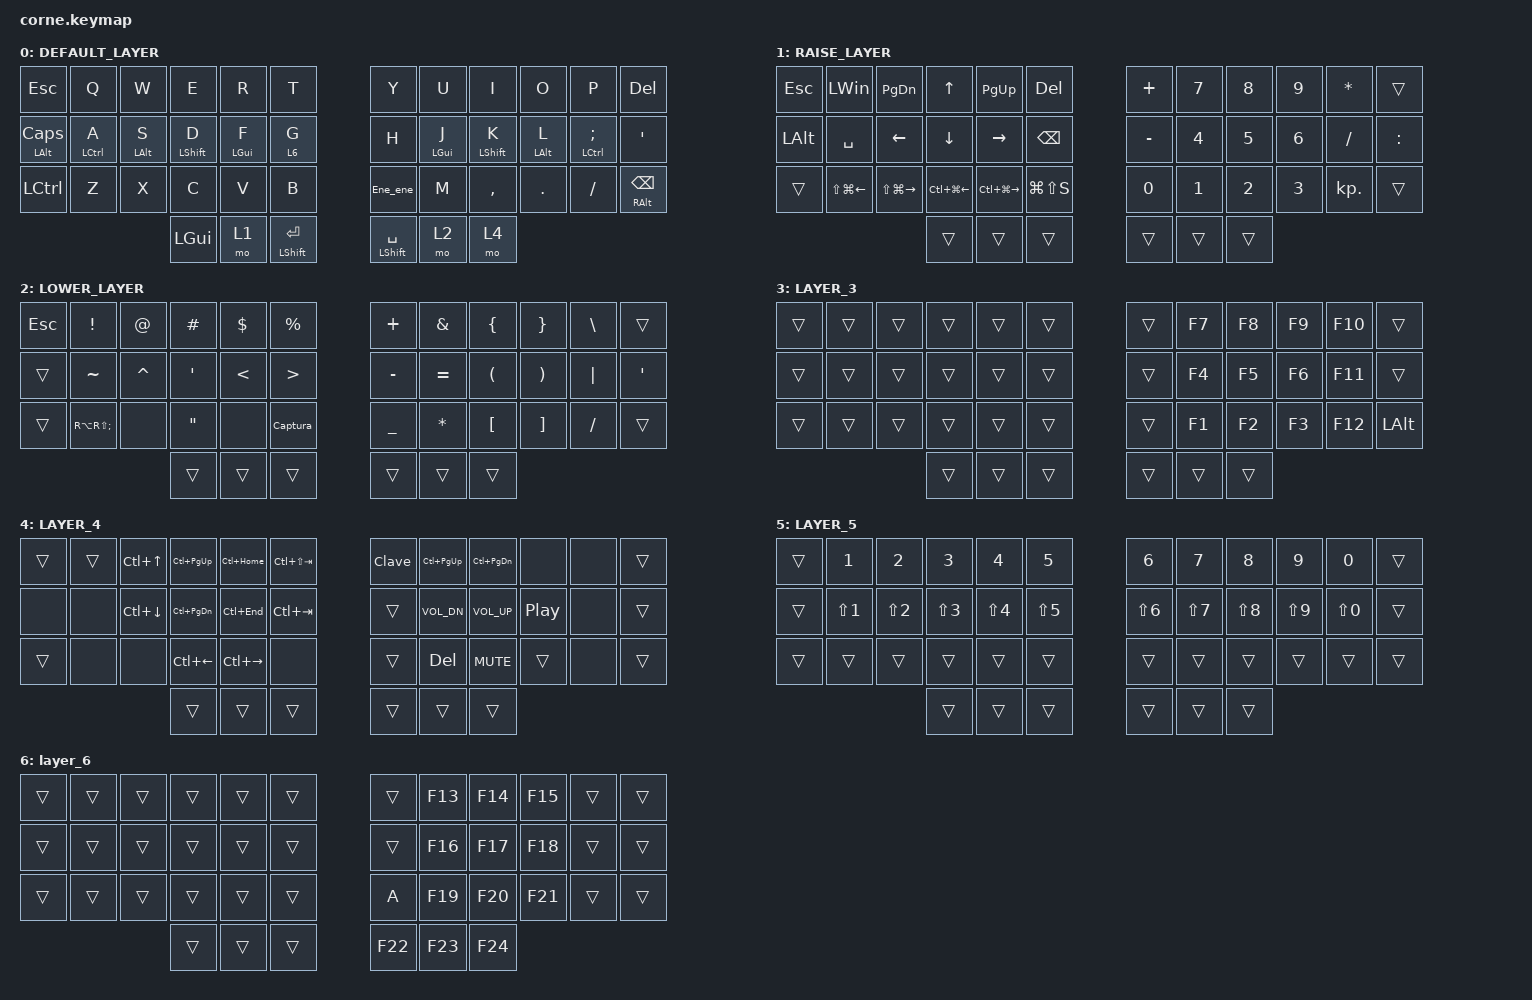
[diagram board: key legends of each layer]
/*
 * Copyright (c) 2020 The ZMK Contributors
 *
 * SPDX-License-Identifier: MIT
 */

#define DEFAULT_LAYER 0
#define RAISE_LAYER 1
#define LOWER_LAYER 2
#define LAYER_3 3
#define LAYER_4 4
#define LAYER_5 5
#define LAYER_6 6

#include <behaviors.dtsi>
#include <dt-bindings/zmk/bt.h>
#include <dt-bindings/zmk/keys.h>

&soft_off {
    hold-time-ms = <5000>; // Tiempo en milisegundos que se debe mantener presionada la tecla para activar el soft off
};

&mt {
    tapping-term-ms = <200>;
    quick-tap-ms = <100>;
    bindings = <&kp>, <&kp>;

    flavor = "balanced";
};

/ {
    combos {
        compatible = "zmk,combos";

        Backspace {
            bindings = <&kp BACKSPACE>;
            key-positions = <19 20>;
        };

        Copiar {
            bindings = <&kp LC(C)>;
            key-positions = <3 2>;
        };

        Pegar {
            bindings = <&kp LC(V)>;
            key-positions = <14 15>;
        };

        Cortar {
            bindings = <&kp LC(X)>;
            key-positions = <2 3 4>;
        };

        pegarTex {
            bindings = <&kp LC(LS(V))>;
            key-positions = <14 15 16>;
        };

        Borrar-palabra {
            bindings = <&kp LC(BACKSPACE)>;
            key-positions = <19 20 21>;
        };

        Soft-Off {
            bindings = <&soft_off>;
            key-positions = <0 29>;
        };

        Page-Up {
            bindings = <&kp PAGE_UP>;
            key-positions = <8 9>;
            require-prior-idle-ms = <40>;
        };

        Page-Down {
            bindings = <&kp PAGE_DOWN>;
            key-positions = <32 33>;
            require-prior-idle-ms = <40>;
        };

        Home- {
            bindings = <&kp HOME>;
            key-positions = <7 8 9>;
        };

        End- {
            bindings = <&kp END>;
            key-positions = <31 32 33>;
        };

        delete {
            bindings = <&kp DEL>;
            key-positions = <7 8>;
        };

        btclear {
            bindings = <&bt BT_CLR_ALL>;
            key-positions = <1 4>;
            layers = <4>;
        };

        bt0 {
            bindings = <&bt BT_SEL 0>;
            key-positions = <1 13>;
        };

        bt1 {
            bindings = <&bt BT_SEL 1>;
            key-positions = <2 14>;
            layers = <4>;
        };

        bt2 {
            bindings = <&bt BT_SEL 2>;
            key-positions = <3 15>;
            layers = <4>;
        };

        Com-tab {
            bindings = <&kp TAB>;
            key-positions = <15 16>;
        };

        space {
            bindings = <&kp SPACE>;
            key-positions = <28 27>;
        };

        Desacer {
            bindings = <&kp LC(Z)>;
            key-positions = <25 26>;
        };

        Reacer {
            bindings = <&kp LC(Y)>;
            key-positions = <1 2>;
        };

        Alt-Tab {
            bindings = <&kp LA(TAB)>;
            key-positions = <26 27>;
        };

        EnterDerecho {
            bindings = <&kp ENTER>;
            key-positions = <20 21>;
        };

        CommandPalette {
            bindings = <&kp LA(LG(SPACE))>;
            key-positions = <26 27 28>;
        };
    };

    behaviors {
        Ene_ene: Ene_ene {
            compatible = "zmk,behavior-tap-dance";
            label = "ENE_ENE";
            #binding-cells = <0>;
            bindings = <&kp N>, <&kp RA(N)>;
        };

        Hm: Hm {
            compatible = "zmk,behavior-hold-tap";
            label = "HM";
            bindings = <&kp>, <&kp>;

            #binding-cells = <2>;
            tapping-term-ms = <250>;
            quick-tap-ms = <0>;
            flavor = "tap-preferred";
        };
    };

    macros {
        Captura: M1 {
            compatible = "zmk,behavior-macro";
            #binding-cells = <0>;
            bindings = <&kp LG(LS(S))>;
            label = "M1";
        };

        Clave: Clave {
            compatible = "zmk,behavior-macro";
            #binding-cells = <0>;
            bindings =
                <&kp UP_ARROW>,
                <&macro_wait_time 500>,
                <&kp DOWN>,
                <&macro_wait_time 40>,
                <&kp NUMBER_1 &kp N0 &kp NUMBER_7 &kp N9>,
                <&macro_wait_time 500>,
                <&kp ENTER>;

            label = "CLAVE";
        };
    };

    keymap {
        compatible = "zmk,keymap";
        default_layer = <0>; // Establece la capa 0 como predeterminada
        DEFAULT_LAYER {
            bindings = <
&kp ESCAPE         &kp Q        &kp W       &kp E             &kp R           &kp T               &kp Y             &kp U           &kp I             &kp O           &kp P                &kp DEL
&mt LEFT_ALT CAPS  &Hm LCTRL A  &Hm LALT S  &Hm LEFT_SHIFT D  &Hm LEFT_GUI F  &lt 6 G             &kp H             &Hm LEFT_GUI J  &Hm LEFT_SHIFT K  &Hm LEFT_ALT L  &Hm LCTRL SEMICOLON  &kp SQT
&kp LCTRL          &kp Z        &kp X       &kp C             &kp V           &kp B               &Ene_ene          &kp M           &kp COMMA         &kp DOT         &kp FSLH             &mt RIGHT_ALT BACKSPACE
                                            &kp LGUI          &mo 1           &mt LSHIFT ENTER    &mt LSHIFT SPACE  &mo 2           &mo 4
            >;
        };

        RAISE_LAYER {
            bindings = <
&kp ESC   &kp LEFT_WIN      &kp PAGE_DOWN            &kp UP_ARROW            &kp PAGE_UP        &kp DEL          &kp PLUS   &kp N7        &kp N8        &kp N9        &kp ASTRK   &trans
&kp LALT  &kp SPACE         &kp LEFT_ARROW           &kp DOWN_ARROW          &kp RIGHT          &kp BACKSPACE    &kp MINUS  &kp NUMBER_4  &kp N5        &kp NUMBER_6  &kp SLASH   &kp COLON
&trans    &kp LS(LG(LEFT))  &kp LS(LG(RIGHT_ARROW))  &kp LC(LG(LEFT_ARROW))  &kp LC(LG(RIGHT))  &kp LG(LS(S))    &kp N0     &kp NUMBER_1  &kp NUMBER_2  &kp NUMBER_3  &kp KP_DOT  &trans
                                                     &trans                  &trans             &trans           &trans     &trans        &trans
            >;
        };

        LOWER_LAYER {
            bindings = <
&kp ESC  &kp EXCL          &kp AT     &kp HASH           &kp DOLLAR     &kp PERCENT         &kp PLUS        &kp AMPERSAND  &kp LEFT_BRACE        &kp RIGHT_BRACE        &kp BACKSLASH  &trans
&trans   &kp TILDE         &kp CARET  &kp APOS           &kp LESS_THAN  &kp GREATER_THAN    &kp MINUS       &kp EQUAL      &kp LEFT_PARENTHESIS  &kp RIGHT_PARENTHESIS  &kp PIPE       &kp SINGLE_QUOTE
&trans   &kp RA(RS(SEMI))  &none      &kp DOUBLE_QUOTES  &none          &Captura            &kp UNDERSCORE  &kp ASTERISK   &kp LEFT_BRACKET      &kp RIGHT_BRACKET      &kp SLASH      &trans
                                      &trans             &trans         &trans              &trans          &trans         &trans
            >;
        };

        LAYER_3 {
            bindings = <
&trans  &trans  &trans  &trans  &trans  &trans    &trans  &kp F7  &kp F8  &kp F9  &kp F10  &trans
&trans  &trans  &trans  &trans  &trans  &trans    &trans  &kp F4  &kp F5  &kp F6  &kp F11  &trans
&trans  &trans  &trans  &trans  &trans  &trans    &trans  &kp F1  &kp F2  &kp F3  &kp F12  &kp LEFT_ALT
                        &trans  &trans  &trans    &trans  &trans  &trans
            >;
        };

        LAYER_4 {
            bindings = <
&trans  &trans  &kp LC(UP)          &kp LC(PAGE_UP)    &kp LC(HOME)   &kp LC(LS(TAB))    &Clave  &kp LC(PAGE_UP)  &kp LC(PAGE_DOWN)  &none             &none  &trans
&none   &none   &kp LC(DOWN_ARROW)  &kp LC(PAGE_DOWN)  &kp LC(END)    &kp LC(TAB)        &trans  &kp C_VOL_DN     &kp C_VOLUME_UP    &kp C_PLAY_PAUSE  &none  &trans
&trans  &none   &none               &kp LC(LEFT)       &kp LC(RIGHT)  &none              &trans  &kp DEL          &kp C_MUTE         &trans            &none  &trans
                                    &trans             &trans         &trans             &trans  &trans           &trans
            >;
        };

        LAYER_5 {
            bindings = <
&trans  &kp NUMBER_1      &kp NUMBER_2      &kp NUMBER_3      &kp NUMBER_4      &kp N5        &kp NUMBER_6      &kp N7      &kp N8      &kp NUMBER_9  &kp N0      &trans
&trans  &kp LS(NUMBER_1)  &kp LS(NUMBER_2)  &kp LS(NUMBER_3)  &kp LS(NUMBER_4)  &kp LS(N5)    &kp LS(NUMBER_6)  &kp LS(N7)  &kp LS(N8)  &kp LS(N9)    &kp LS(N0)  &trans
&trans  &trans            &trans            &trans            &trans            &trans        &trans            &trans      &trans      &trans        &trans      &trans
                                            &trans            &trans            &trans        &trans            &trans      &trans
            >;
        };

        layer_6 {
            bindings = <
&trans  &trans  &trans  &trans  &trans  &trans    &trans   &kp F13  &kp F14  &kp F15  &trans  &trans
&trans  &trans  &trans  &trans  &trans  &trans    &trans   &kp F16  &kp F17  &kp F18  &trans  &trans
&trans  &trans  &trans  &trans  &trans  &trans    &kp A    &kp F19  &kp F20  &kp F21  &trans  &trans
                        &trans  &trans  &trans    &kp F22  &kp F23  &kp F24
            >;
        };
    };

    conditional_layers {
        compatible = "zmk,conditional-layers";

        capa5 {
            if-layers = <1 4>;
            then-layer = <5>;
        };

        Capa3 {
            if-layers = <1 2>;
            then-layer = <3>;
        };
    };
};
